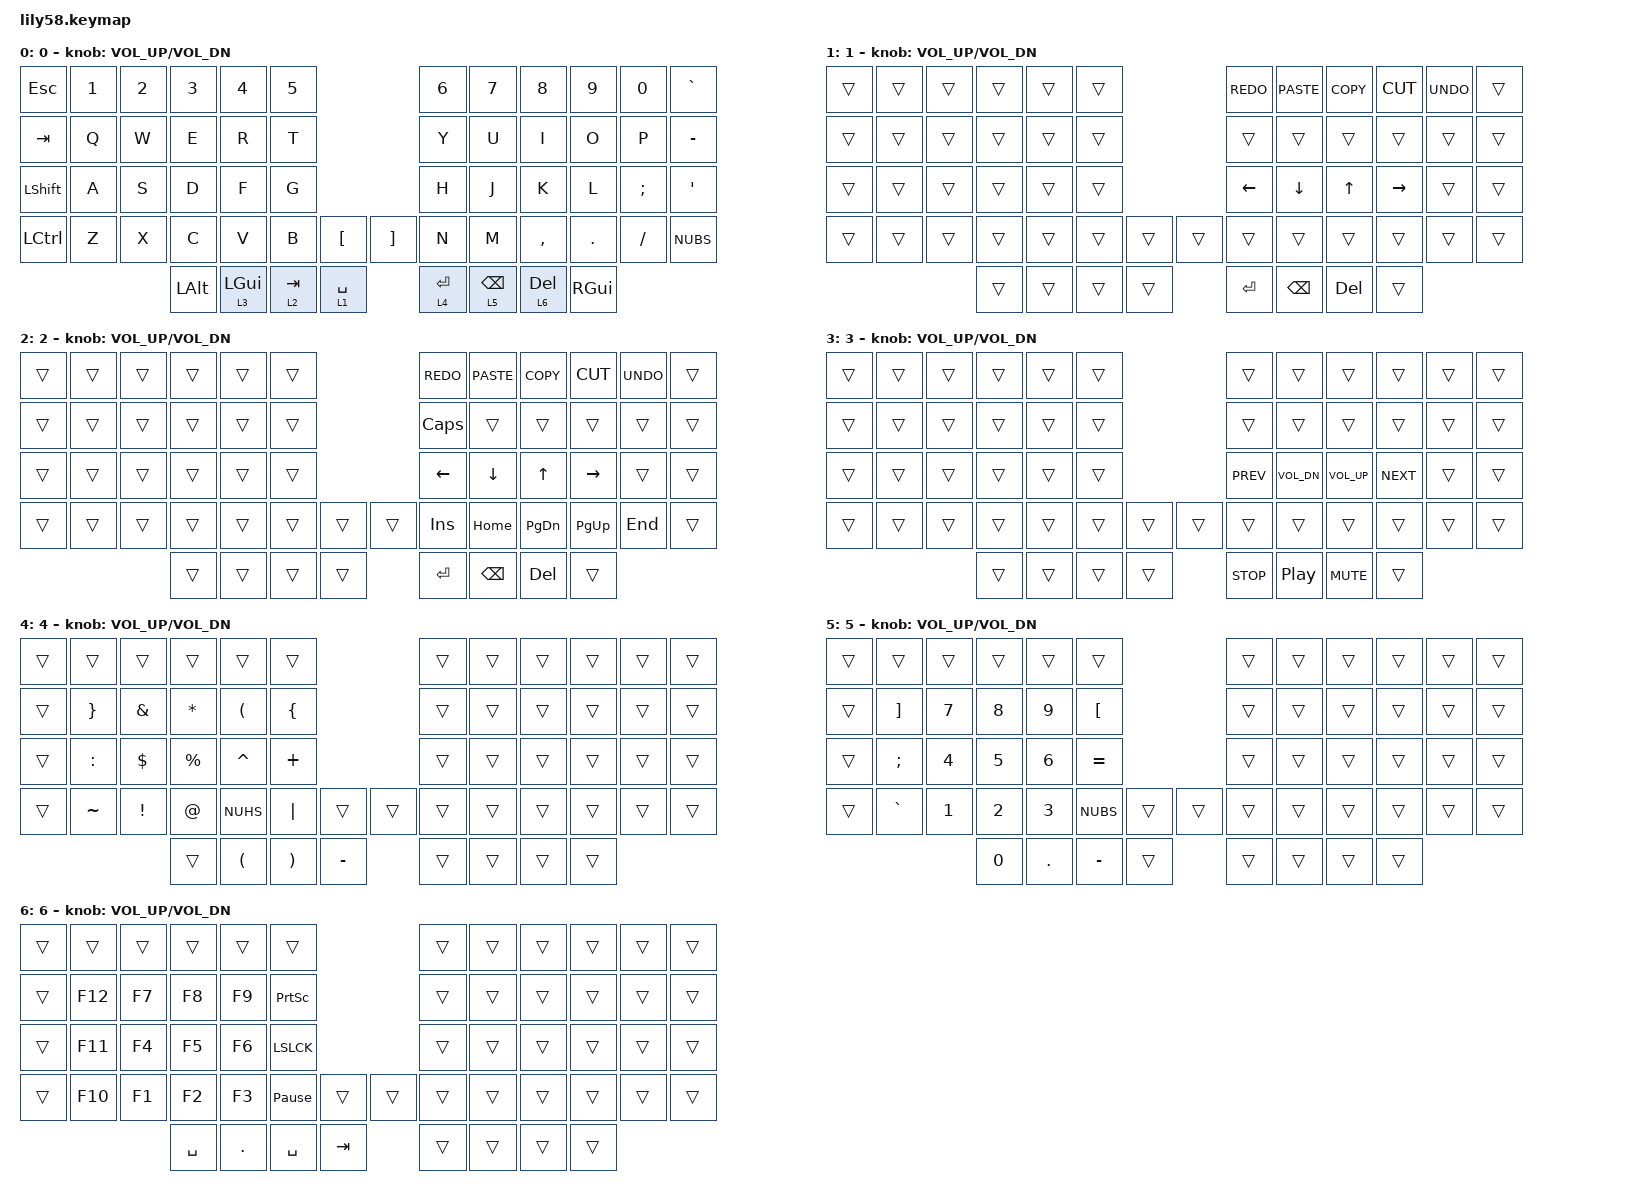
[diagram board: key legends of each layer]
/*
 * Copyright (c) 2020 The ZMK Contributors
 *
 * SPDX-License-Identifier: MIT
 */

#include <behaviors.dtsi>
#include <dt-bindings/zmk/keys.h>
#include <dt-bindings/zmk/bt.h>
#include <dt-bindings/zmk/ext_power.h>

/ {
	keymap {
		compatible = "zmk,keymap";

		0 {
				// ------------------------------------------------------------------------------------------------------------
				// |  ESC  |  1  |  2  |  3   |  4   |  5   |                   |  6   |  7    |  8    |  9   |   0   |   `   |
				// |  TAB  |  Q  |  W  |  E   |  R   |  T   |                   |  Y   |  U    |  I    |  O   |   P   |   -   |
				// | SHIFT |  A  |  S  |  D   |  F   |  G   |                   |  H   |  J    |  K    |  L   |   ;   |   '   |
				// |  CTRL |  Z  |  X  |  C   |  V   |  B   |   "["  |  |  "]"  |  N   |  M    |  ,    |  .   |   /   | NUBS |
				//                     | GUI | ALT | LOWER|  SPACE |  | ENTER | RAISE| BSPC  | GUI   |
			bindings = <
				&kp ESC   	&kp N1 	&kp N2	 &kp N3    &kp N4      &kp N5                         		&kp N6 &kp N7   &kp N8    &kp N9  	&kp N0   	&kp GRAVE
				&kp TAB   	&kp Q  	&kp W  	 &kp E     &kp R       &kp T                         	 	&kp Y  &kp U    &kp I     &kp O   	&kp P    	&kp MINUS
				&kp LSHFT 	&kp A  	&kp S  	 &kp D     &kp F       &kp G                     	     	&kp H  &kp J    &kp K     &kp L   	&kp SEMI 	&kp SQT
				&kp LCTRL 	&kp Z  	&kp X  	 &kp C     &kp V       &kp B      &kp LBKT   	&kp RBKT 	&kp N  &kp M    &kp COMMA &kp DOT 	&kp FSLH 	&kp NUBS
                             		         &kp LALT  &lt 3 LGUI  &lt 2 TAB  &lt 1 SPACE  	&lt 4 RET  	&lt 5 BSPC      &lt 6 DEL   &kp RGUI
			>;
			sensor-bindings = <&inc_dec_kp C_VOL_UP C_VOL_DN>;
		};

		/* 0 { */
		/* 		// ------------------------------------------------------------------------------------------------------------ */
		/* 		// |     |  F2 |  F3 |  F4  |  F5  |  F6  |                   |  F7  |  F8   |  F9   |  F10 |  F11  |  F12  | */
		/* 		// |    |  F2 |  F3 |  F4  |  F5  |  F6  |                   |  F7  |  F8   |  F9   |  F10 |  F11  |  F12  | */
		/* 		// |     |  !  |  @  |  #   |  $   |  %   |                   |  ^   |  &    |  *    |  (   |   )   |   ~   | */
		/* 		// |  CTRL |     |     |      |      |      |  Play/P|  |       |      |  _    |  +    |  {   |   }   |   #   | */
		/* 		//                     |      |      |      |        |  |       |      |       |       | */
		/* 	bindings = < */
		/* 		&kp F1 	 	&kp F2		&kp F3		&kp F4		&kp F5		&kp F6                 					&kp F7    	&kp F8    	&kp F9          &kp F10   	&kp F11   	&kp F12 */
		/* 		&kp F1     	&kp F2      &kp F3  	&kp F4  	&kp F5      &kp F6                       			&kp CARET 	&kp AMPS	&kp KP_MULTIPLY &kp LPAR    &kp RPAR    &kp TILDE */
		/* 		&kp GRAVE  	&kp EXCL    &kp AT  	&kp HASH 	&kp DOLLAR	&kp PRCNT                    			&kp MINUS 	&kp KP_PLUS &kp LBRC  	    &kp RBRC  	&kp HASH  	&trans   */
		/* 		&kp LCTRL  	&kp LCTRL	&kp LCTRL	&kp LCTRL	&kp LCTRL	&kp LCTRL 	&trans    		&trans    	&trans		&trans		&trans		    &trans		&trans		&trans */
		/* 	    	                    &trans      &trans      &trans    	&trans   	&trans    		&trans    	&kp DEL    &trans */
		/* 	>; */
		/* 	sensor-bindings = <&inc_dec_kp C_VOL_UP C_VOL_DN>; */
		/* }; */

		1 {
				// ------------------------------------------------------------------------------------------------------------
				// |	|	|	|   |   |   |                   |	   |       |       |      |       |       |
				// |    |  	|  	|  	|	|   |                   |	   |       |       |      |       |       |
				// |    |  	|  	|  	|   |	|                   |  <-  |   v   |  ^    |  ->  |       |       |
				// |    |  	|  	|	|   |  	|	|  	|	|       |      |       |       |      |       |       |
				//                  |	|   |	|	|  	|       |      |       |       |
			bindings = <
				&trans  &trans	&trans 	&trans	&trans	&trans                		&kp K_REDO 	&kp K_PASTE	&kp K_COPY	&kp K_CUT	&kp K_UNDO	&trans
				&trans  &trans	&trans	&trans	&trans	&trans                      &trans  	&trans		&trans		&trans		&trans		&trans
				&trans  &trans 	&trans 	&trans  &trans	&trans                      &kp LEFT  	&kp DOWN	&kp UP   	&kp RIGHT 	&trans		&trans
				&trans	&trans 	&trans	&trans 	&trans 	&trans	&trans   &trans		&trans  	&trans		&trans		&trans		&trans		&trans
			    	                    &trans  &trans  &trans  &trans   &kp RET    &kp BSPC	&kp DEL		&trans
			>;
			sensor-bindings = <&inc_dec_kp C_VOL_UP C_VOL_DN>;
		};
		
		2 {
				// ------------------------------------------------------------------------------------------------------------
				// |	|	|	|   |   |   |                   |	   |       |       |      |       |       |
				// |    |  	|  	|  	|	|   |                   |	   |       |       |      |       |       |
				// |    |  	|  	|  	|   |	|                   |  <-  |   v   |  ^    |  ->  |       |       |
				// |    |  	|  	|	|   |  	|	|  	|	|       |      |       |       |      |       |       |
				//                  |	|   |	|	|  	|       |      |       |       |
			bindings = <
				&trans  &trans	&trans 	&trans	&trans	&trans                		&kp K_REDO 	&kp K_PASTE	&kp K_COPY	&kp K_CUT	&kp K_UNDO	&trans
				&trans  &trans	&trans	&trans	&trans	&trans                      &kp CAPS  	&trans		&trans		&trans		&trans		&trans
				&trans  &trans 	&trans 	&trans  &trans	&trans                      &kp LEFT  	&kp DOWN  	&kp UP   	&kp RIGHT 	&trans 	    &trans
				&trans	&trans 	&trans	&trans 	&trans 	&trans	&trans   &trans		&kp INS  	&kp HOME	&kp PG_DN	&kp PG_UP	&kp END		&trans
			    	                    &trans  &trans  &trans  &trans   &kp RET    &kp BSPC	&kp DEL		&trans
			>;
			sensor-bindings = <&inc_dec_kp C_VOL_UP C_VOL_DN>;
		};
		

		3 {
				// ------------------------------------------------------------------------------------------------------------
				// |	|	|	|   |   |   |                   |	   |       |       |      |       |       |
				// |    |  	|  	|  	|	|   |                   |	   |       |       |      |       |       |
				// |    |  	|  	|  	|   |	|                   |  <-  |   v   |  ^    |  ->  |       |       |
				// |    |  	|  	|	|   |  	|	|  	|	|       |      |       |       |      |       |       |
				//                  |	|   |	|	|  	|       |      |       |       |
			bindings = <
				&trans  &trans	&trans 	&trans	&trans	&trans                		&trans  	&trans			&trans			&trans		&trans		&trans
				&trans  &trans	&trans	&trans	&trans	&trans                      &trans  	&trans			&trans			&trans		&trans		&trans
				&trans  &trans 	&trans 	&trans  &trans	&trans                      &kp C_PREV  &kp C_VOL_DN	&kp C_VOL_UP   	&kp C_NEXT 	&trans		&trans
				&trans	&trans 	&trans	&trans 	&trans 	&trans	&trans   &trans		&trans  	&trans			&trans			&trans		&trans		&trans
			    	                    &trans  &trans  &trans  &trans   &kp C_STOP &kp C_PP	&kp C_MUTE		&trans
			>;
			sensor-bindings = <&inc_dec_kp C_VOL_UP C_VOL_DN>;
		};
		
		
		4 {
			// ------------------------------------------------------------------------------------------------------------
			// |   |     |     |     |     |     |                  |    |    |    |    |    |    |
			// |   |  {  |  &  |  *  |  (  |  }  |                  |    |    |    |    |    |    |
			// |   |  :  |  $  |  %  |  ^  |  +  |                  |    |    |    |    |    |    |
			// |   |  ~  |  !  |  @  |  £  |  |  |     | X |    |    |    |    |    |    |    |    |
			//                 |     |  (  |  )  |  -  | X |    |    |    |    |
			bindings = <	
				&trans  &trans	 	&trans		&trans		&trans		&trans               		&trans  &trans	&trans	&trans	&trans 	&trans
				&trans  &kp	RBRC	&kp AMPS 	&kp STAR  	&kp LPAR 	&kp LBRC               		&trans  &trans	&trans	&trans	&trans 	&trans
				&trans  &kp	COLON	&kp DLLR	&kp PRCNT 	&kp CARET	&kp	PLUS	                &trans  &trans	&trans	&trans	&trans 	&trans
				&trans 	&kp	TILDE	&kp	EXCL	&kp AT 		&kp NUHS 	&kp PIPE  &trans    &trans	&trans  &trans  &trans	&trans  &trans  &trans
			    	                        	&trans  	&kp LPAR  &kp RPAR  &kp MINUS &trans	&trans  &trans  &trans
			>;
			sensor-bindings = <&inc_dec_kp C_VOL_UP C_VOL_DN>;
		};
		
		5 {
				// ------------------------------------------------------------------------------------------------------------
				// |   |     |     |     |     |     |                  |    |    |    |    |    |    |
				// |   |  [  |  7  |  8  |  9  |  ]  |                  |    |    |    |    |    |    |
				// |   |  ;  |  4  |  5  |  6  |  =  |                  |    |    |    |    |    |    |
				// |   |  `  |  1  |  2  |  3  |  \  |    | X |    |    |    |    |    |    |    |    |
				//                 |  0  | SPC |     |    | X |    |    |    |    |
			bindings = <
				&trans  &trans	 	&trans	&trans	&trans	&trans               		 	&trans  &trans	&trans	&trans	&trans 	&trans
				&trans  &kp	RBKT	&kp N7 	&kp N8 	&kp N9 	&kp LBKT              		 	&trans  &trans	&trans	&trans	&trans 	&trans
				&trans  &kp	SEMI	&kp N4	&kp N5 	&kp N6	&kp	EQUAL	                 	&trans  &trans	&trans	&trans	&trans 	&trans
				&trans 	&kp	GRAVE	&kp	N1	&kp N2 	&kp N3 	&kp NUBS	&trans    &trans	&trans  &trans  &trans	&trans  &trans  &trans
			    	                        &kp N0  &kp DOT &kp MINUS  	&trans    &trans	&trans  &trans  &trans
			>;
			sensor-bindings = <&inc_dec_kp C_VOL_UP C_VOL_DN>;
		};
		
		6 {
				// ------------------------------------------------------------------------------
				// |    |     |    |    |    |         |               |    |    |    |    |    |    |
				// |    | F12 | F7 | F8 | F9 | PRTSCRN |               |    |    |    |    |    |    |
				// |    | F11 | F4 | F5 | F6 | SRL_LCK |               |    |    |    |    |    |    |
				// |    | F10 | F1 | F2 | F3 | PAUSE   |    |  X  |    |    |    |    |    |    |
				//                 |    |    |         |    |  X  |    |    |    |    |
			bindings = <
				&trans  &trans	&trans	&trans	   &trans	&trans               		 	    &trans  &trans	&trans	&trans	&trans 	&trans
				&trans  &kp	F12	&kp F7 	&kp F8 	   &kp F9 	&kp PSCRN              		 	    &trans  &trans	&trans	&trans	&trans 	&trans
				&trans  &kp	F11	&kp F4	&kp F5 	   &kp F6	&kp	LSLCK	                     	&trans  &trans	&trans	&trans	&trans 	&trans
				&trans 	&kp	F10	&kp	F1	&kp F2 	   &kp F3 	&kp PAUSE_BREAK	&trans     &trans	&trans  &trans  &trans	&trans  &trans  &trans
			    	                    &kp SPACE  &kp DOT  &kp SPACE        &kp TAB   &trans	&trans  &trans  &trans
			>;
			sensor-bindings = <&inc_dec_kp C_VOL_UP C_VOL_DN>;
		};
	};
};
